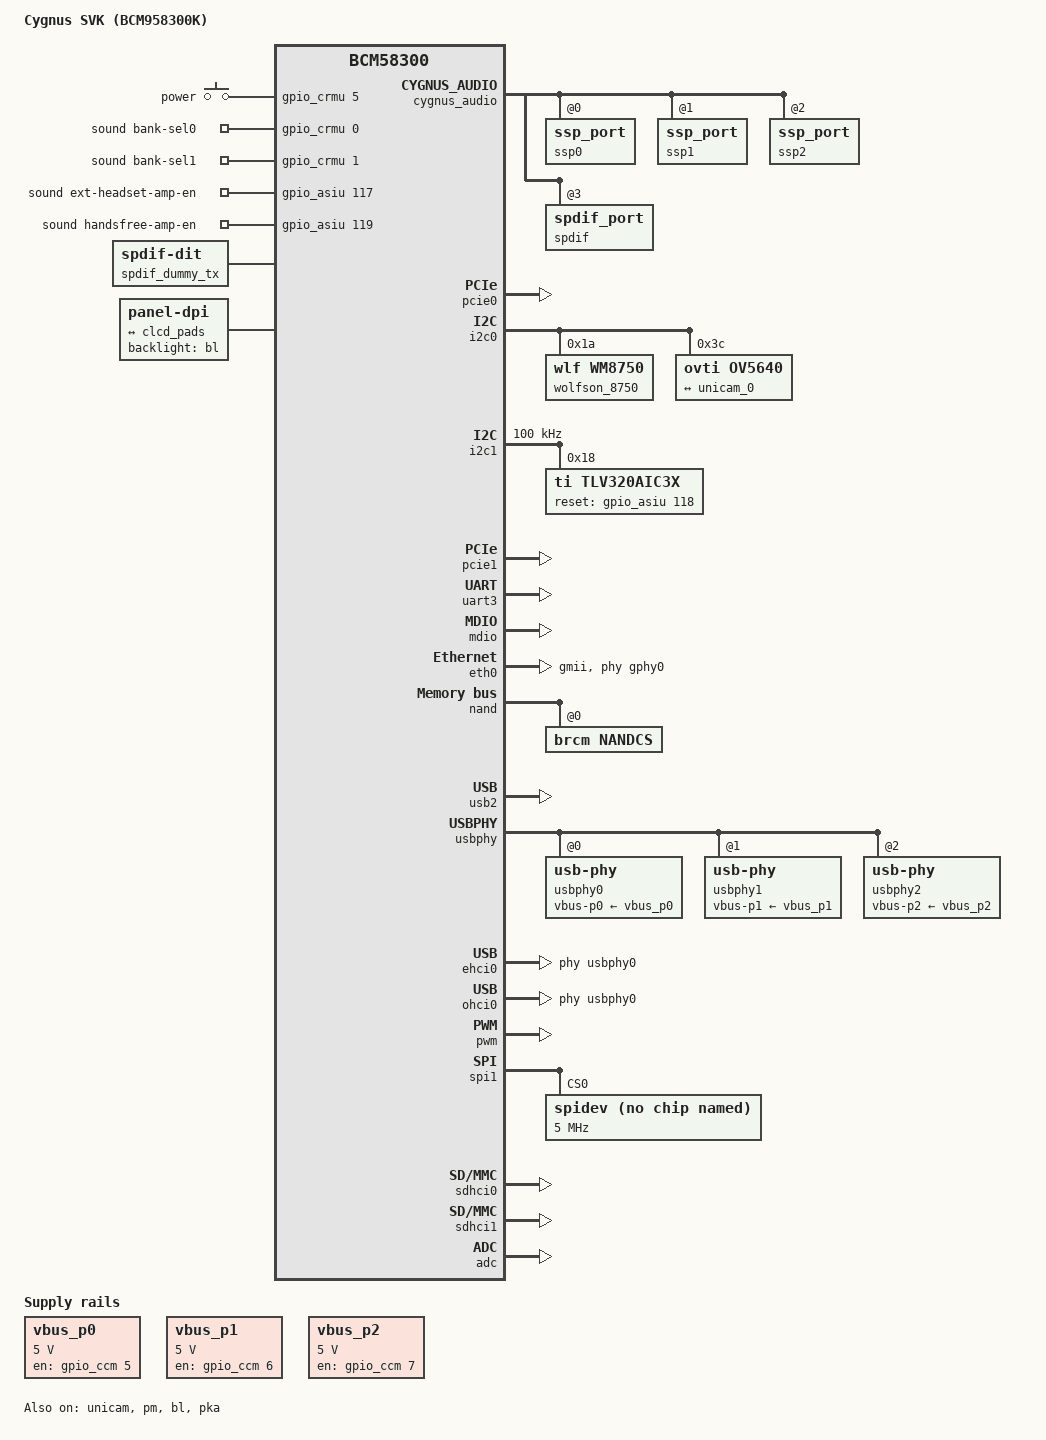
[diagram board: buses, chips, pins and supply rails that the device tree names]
/*
 *  BSD LICENSE
 *
 *  Copyright(c) 2014-2017 Broadcom.  All rights reserved.
 *
 *  Redistribution and use in source and binary forms, with or without
 *  modification, are permitted provided that the following conditions
 *  are met:
 *
 *    * Redistributions of source code must retain the above copyright
 *      notice, this list of conditions and the following disclaimer.
 *    * Redistributions in binary form must reproduce the above copyright
 *      notice, this list of conditions and the following disclaimer in
 *      the documentation and/or other materials provided with the
 *      distribution.
 *    * Neither the name of Broadcom nor the names of its
 *      contributors may be used to endorse or promote products derived
 *      from this software without specific prior written permission.
 *
 *  THIS SOFTWARE IS PROVIDED BY THE COPYRIGHT HOLDERS AND CONTRIBUTORS
 *  "AS IS" AND ANY EXPRESS OR IMPLIED WARRANTIES, INCLUDING, BUT NOT
 *  LIMITED TO, THE IMPLIED WARRANTIES OF MERCHANTABILITY AND FITNESS FOR
 *  A PARTICULAR PURPOSE ARE DISCLAIMED. IN NO EVENT SHALL THE COPYRIGHT
 *  OWNER OR CONTRIBUTORS BE LIABLE FOR ANY DIRECT, INDIRECT, INCIDENTAL,
 *  SPECIAL, EXEMPLARY, OR CONSEQUENTIAL DAMAGES (INCLUDING, BUT NOT
 *  LIMITED TO, PROCUREMENT OF SUBSTITUTE GOODS OR SERVICES; LOSS OF USE,
 *  DATA, OR PROFITS; OR BUSINESS INTERRUPTION) HOWEVER CAUSED AND ON ANY
 *  THEORY OF LIABILITY, WHETHER IN CONTRACT, STRICT LIABILITY, OR TORT
 *  (INCLUDING NEGLIGENCE OR OTHERWISE) ARISING IN ANY WAY OUT OF THE USE
 *  OF THIS SOFTWARE, EVEN IF ADVISED OF THE POSSIBILITY OF SUCH DAMAGE.
 */

/dts-v1/;

#include <dt-bindings/input/input.h>

#include "bcm-cygnus.dtsi"
#include "bcm529088-keypad.dtsi"
#include "bcm9hmidc.dtsi"

/* Have all the supported panel dt files included here and let dsi_panel
 * node to point to the default panel node, so that without rebuilding
 * we can support multiple panels
 */
#include "hx8389b-lcd-panel.dtsi"
#include "hx8389c-lcd-panel.dtsi"
#include "innolux-lcd-panel.dtsi"

/ {
	model = "Cygnus SVK (BCM958300K)";
	compatible = "brcm,bcm58300", "brcm,cygnus";

	aliases {
		serial0 = &uart3;
	};

	chosen {
		stdout-path = "serial0:115200n8";
	};

	vbus_p0: regulator@0 {
		compatible = "regulator-fixed";
		regulator-name = "usb-vbus-p0";
		regulator-min-microvolt = <5000000>;
		regulator-max-microvolt = <5000000>;
		gpio = <&gpio_ccm 5 0>;
		enable-active-high;
		status = "okay";
	};

	vbus_p1: regulator@1 {
		compatible = "regulator-fixed";
		regulator-name = "usb-vbus-p1";
		regulator-min-microvolt = <5000000>;
		regulator-max-microvolt = <5000000>;
		gpio = <&gpio_ccm 6 0>;
		enable-active-high;
		status = "okay";
	};

	vbus_p2: regulator@2 {
		compatible = "regulator-fixed";
		regulator-name = "usb-vbus-p2";
		regulator-min-microvolt = <5000000>;
		regulator-max-microvolt = <5000000>;
		gpio = <&gpio_ccm 7 0>;
		enable-active-high;
		status = "okay";
	};

	gpio-keys {
		compatible = "gpio-keys";
		status = "okay";

		power {
			label = "power";
			gpios = <&gpio_crmu 5 0>;
			linux,code = <KEY_POWER>;
			gpio-key,wakeup;
		};
	};
	sound {
		compatible = "brcm,cygnussvk-machine";
		brcm,bank-sel0-gpio = <&gpio_crmu 0 0>;
		brcm,bank-sel1-gpio = <&gpio_crmu 1 0>;
		brcm,ext-headset-amp-en-gpio = <&gpio_asiu 117 0>;
		brcm,handsfree-amp-en-gpio = <&gpio_asiu 119 0>;
		brcm,scslot = <1>; /* 0 = slot 0, all else = 1 */
		status = "okay";

		dai-link@0 {
			format = "i2s";
			bitclock-master = <&dailink0_master>;
			frame-master = <&dailink0_master>;

			dailink0_master: cpu {
				sound-dai = <&cygnus_audio 0>;
			};

			codec {
				sound-dai = <&bcm_dummy_codec>;
			};
		};

		dai-link@1 {
			format = "i2s";
			bitclock-master = <&dailink1_master>;
			frame-master = <&dailink1_master>;

			dailink1_master: cpu {
				sound-dai = <&cygnus_audio 1>;
			};

			codec {
				sound-dai = <&tlv320aic3x>;
			};
		};

		dai-link@2 {
			format = "i2s";
			bitclock-master = <&dailink2_master>;
			frame-master = <&dailink2_master>;

			dailink2_master: cpu {
				sound-dai = <&cygnus_audio 2>;
			};

			codec {
				sound-dai = <&wolfson_8750>;
			};
		};

		dai-link@3 {
			format = "i2s";
			bitclock-master = <&dailink3_master>;
			frame-master = <&dailink3_master>;

			dailink3_master: cpu {
				sound-dai = <&cygnus_audio 3>;
			};

			codec {
				sound-dai = <&spdif_dummy_tx>;
			};
		};
	};

	bcm_dummy_codec: dummy_codec {
		#sound-dai-cells = <0>;
		status = "okay";
		compatible = "brcm,dummy_codec";
	};

	/* dummy codec to model spdif tx */
	spdif_dummy_tx: spdif_tx {
		#sound-dai-cells = <0>;
		status = "okay";
		compatible = "linux,spdif-dit";
	};
};

&cygnus_audio {
	#sound-dai-cells = <1>;
	ssp0: ssp_port@0 {
		status = "okay";
	};

	ssp1: ssp_port@1 {
		status = "okay";
	};

	ssp2: ssp_port@2 {
		clocks = <&audiopll BCM_CYGNUS_AUDIOPLL_CH0>;
		brcm,ssp-clk-mux = <0>;
		status = "okay";
	};

	spdif: spdif_port@3 {
		status = "okay";
	};
};

&unicam {
	status = "okay";
	port {
		#address-cells = <1>;
		#size-cells = <0>;
		unicam_0: endpoint {
			remote-endpoint = <&ov5640_0>;
			bus-width = <8>;
		};
	};
};

&iproc_dsi {
	dsi_panel = <&panel_innolux>;
};

&pcie0 {
	status = "okay";
};

&i2c0 {
	status = "okay";
	wolfson_8750: wm8750@1a {
		#sound-dai-cells = <0>;
		compatible = "wlf,wm8750";
		reg = <0x1a>;
	};

	ov5640: camera@3c {
		compatible = "ovti,ov5640";
		reg = <0x3c>;
		port {
			ov5640_0: endpoint {
				remote-endpoint = <&unicam_0>;
				bus-width = <8>;
			};
		};
	};
};

&i2c1 {
	clock-frequency = <100000>;
	status = "okay";

	tlv320aic3x: tlv320aic3x@18 {
		#sound-dai-cells = <0>;
		compatible = "ti,tlv320aic3x";
		reg = <0x18>;
		ai3x-micbias-vg = <2>;
		gpio-reset = <&gpio_asiu 118 0>;
		status = "okay";
	};
};

&pinctrl {
		pinctrl-names = "default";
		pinctrl-0 = <&keypad_on &i2s0_default_mux &i2s1_default_mux
			&i2s2_default_mux &dte_lts_0>;
};

&pcie1 {
	status = "okay";
};

&uart3 {
	status = "okay";
};

&mdio {
	status = "okay";
};

&eth0 {
	status = "okay";
	brcm,amac-switch-bypass;
	phy-handle = <&gphy0>;
	phy-mode = "gmii";
};

&nand {
	nandcs@1 {
		compatible = "brcm,nandcs";
		reg = <0>;
		nand-on-flash-bbt;

		#address-cells = <1>;
		#size-cells = <1>;

		nand-ecc-strength = <24>;
		nand-ecc-step-size = <1024>;

		brcm,nand-oob-sector-size = <27>;
	};
};

&usb2 {
	status = "okay";
};

&usbphy {
	usbphy0: usb-phy@0 {
		vbus-p0-supply = <&vbus_p0>;
	};

	usbphy1: usb-phy@1 {
		vbus-p1-supply = <&vbus_p1>;
	};

	usbphy2: usb-phy@2 {
		vbus-p2-supply = <&vbus_p2>;
	};
};

&ehci0 {
	phys = <&usbphy0 0 &usbphy1 1 &usbphy2 2>;
	phy-names = "usbp0", "usbp1", "usbp2";
	status = "okay";
};

&ohci0 {
	phys = <&usbphy0 0 &usbphy1 1 &usbphy2 2>;
	phy-names = "usbp0", "usbp1", "usbp2";
	status = "okay";
};

&pm {
	status = "okay";
};

&mipipll {
	assigned-clocks = <&mipipll BCM_CYGNUS_MIPIPLL_CH0_DSI>,
			<&mipipll BCM_CYGNUS_MIPIPLL_CH1_LCD>,
			<&mipipll BCM_CYGNUS_MIPIPLL>;
	assigned-clock-parents = <&mipipll BCM_CYGNUS_MIPIPLL>,
			<&mipipll BCM_CYGNUS_MIPIPLL>;
	assigned-clock-rates = <0>, <0>, <2100000000>;
};

&bl {
	brightness-levels = <0 16 24 32 50 64 128 255>;
	default-brightness-level = <6>;
	status = "okay";
};

&clcd {
	clocks =  <&mipipll BCM_CYGNUS_MIPIPLL_CH1_LCD>, <&apb_clk>;
	clcd-clock-select = <1>;

	port {
		clcd_pads: endpoint {
			remote-endpoint = <&clcd_panel>;
			arm,pl11x,tft-r0g0b0-pads = <0 8 16>;
		};
	};

	panel {
		compatible = "panel-dpi";
		backlight = <&bl>;
		port {
			clcd_panel: endpoint {
				remote-endpoint = <&clcd_pads>;
			};
		};
	};
};

&pwm {
	status = "okay";
};

&spi1 {
	status = "okay";

	num-cs = <1>;
	spidev@0 {
		compatible = "spidev";
		reg = <0>;
		spi-max-frequency = <5000000>;
	};
};

&sdhci0 {
	status = "okay";
	no-1-8-v;
};

&sdhci1 {
	status = "okay";
	no-1-8-v;
};

&adc {
	status = "okay";
};

&pka {
	status = "okay";
};
